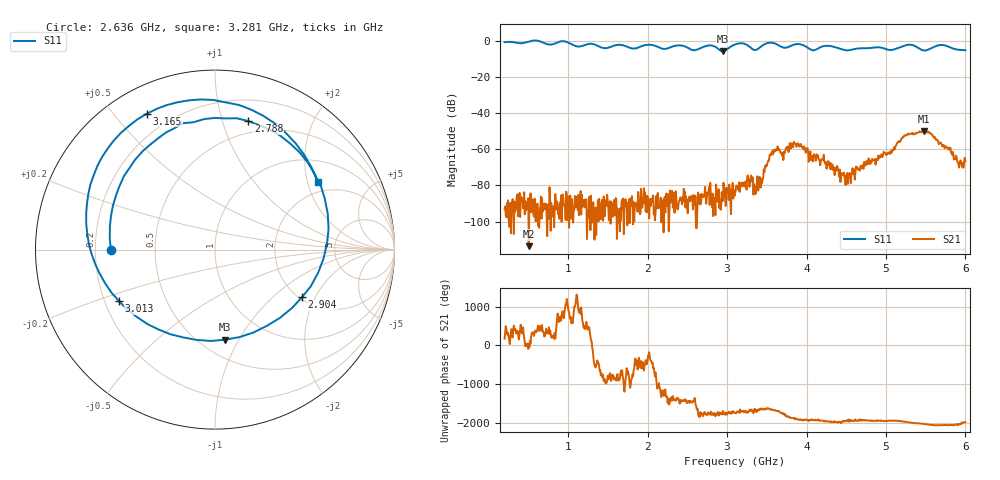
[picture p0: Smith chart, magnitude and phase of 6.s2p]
! NanoVNA-App by OneOfEleven et al v1.1.209 (+OD15)
! Date: 2024-07-30 15:24:13
! Start: 200MHz Stop: 6GHz Points: 801
! S-Parameter data: F S11 S21 S12 S22
# Hz S RI R 50
!  Frequency  S11_Real  S11_Imag  S21_Real  S21_Imag  S12_Real  S12_Imag  S22_Real  S22_Imag
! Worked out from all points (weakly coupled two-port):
!   801 points, 200 MHz to 6 GHz, reference 50 ohm
!   highest |S21| = -49.88 dB at 5.478 GHz (marker M1); lowest = -113.6 dB at 504.5 MHz (marker M2)
!   lowest |S11| = -5.9 dB at 2.948 GHz (marker M3), VSWR 3.04, Z = 32.6 - j43.9 ohm
!   |S11| at or under -10 dB: nowhere
!   S12 and S22 are empty: the file has one direction only
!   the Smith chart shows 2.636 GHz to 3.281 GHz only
!   S11 on the Smith chart (normalised r, x): 2.636 GHz: 0.27, -0.00; 2.788 GHz: 0.39, +1.22; 2.904 GHz: 2.07, -1.58; 3.013 GHz: 0.26, -0.24; 3.165 GHz: 0.11, +0.61; 3.281 GHz: 1.65, +2.32
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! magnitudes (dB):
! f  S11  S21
! 200 MHz  -0.8  -93.1
! 504.5 MHz  -0.5  -113.6
! 1.171 GHz  -3.0  -85.2
! 2.136 GHz  -3.6  -92.6
! 2.636 GHz  -4.7  -84.0
! 2.788 GHz  -2.6  -78.6
! 2.904 GHz  -5.2  -92.6
! 2.948 GHz  -5.9  -88.5
! 3.013 GHz  -4.3  -81.3
! 3.1 GHz  -2.1  -84.5
! 3.165 GHz  -1.4  -81.4
! 3.281 GHz  -3.3  -80.8
! 3.419 GHz  -3.5  -76.1
! 3.615 GHz  -1.8  -60.9
! 3.702 GHz  -3.7  -62.0
! 3.869 GHz  -1.9  -58.1
! 4.072 GHz  -5.2  -63.8
! 4.506 GHz  -5.4  -74.7
! 5.036 GHz  -5.1  -61.8
! 5.246 GHz  -2.6  -52.4
! 5.478 GHz  -5.4  -49.9
! 6 GHz  -5.3  -66.7
